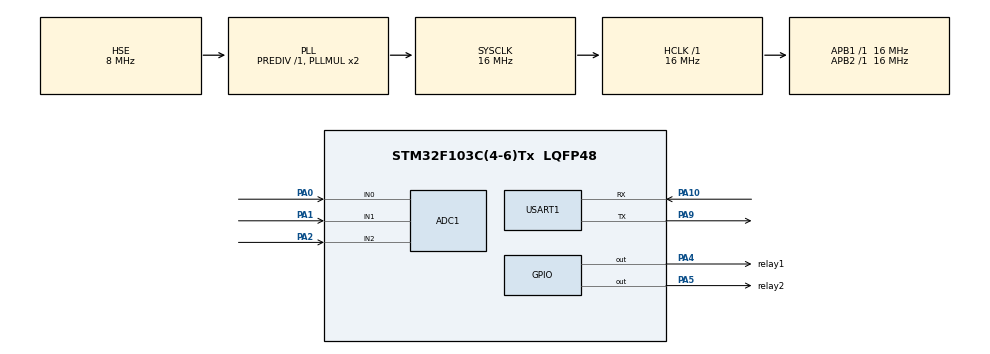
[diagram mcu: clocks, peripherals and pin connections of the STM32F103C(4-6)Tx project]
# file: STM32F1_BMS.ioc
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ADC1.Channel-0\#ChannelRegularConversion=ADC_CHANNEL_0
ADC1.Channel-1\#ChannelRegularConversion=ADC_CHANNEL_1
ADC1.Channel-2\#ChannelRegularConversion=ADC_CHANNEL_2
ADC1.ContinuousConvMode=ENABLE
ADC1.NbrOfConversion=3
ADC1.NbrOfConversionFlag=1
ADC1.Rank-0\#ChannelRegularConversion=1
ADC1.Rank-1\#ChannelRegularConversion=2
ADC1.Rank-2\#ChannelRegularConversion=3
ADC1.SamplingTime-0\#ChannelRegularConversion=ADC_SAMPLETIME_41CYCLES_5
ADC1.SamplingTime-1\#ChannelRegularConversion=ADC_SAMPLETIME_55CYCLES_5
ADC1.SamplingTime-2\#ChannelRegularConversion=ADC_SAMPLETIME_71CYCLES_5
ADC1.master=1
Dma.Request0=USART1_RX
Dma.USART1_RX.0.Direction=DMA_PERIPH_TO_MEMORY
Dma.USART1_RX.0.Instance=DMA1_Channel5
Dma.USART1_RX.0.MemDataAlignment=DMA_MDATAALIGN_BYTE
Dma.USART1_RX.0.MemInc=DMA_MINC_ENABLE
Dma.USART1_RX.0.Mode=DMA_NORMAL
Dma.USART1_RX.0.PeriphDataAlignment=DMA_PDATAALIGN_BYTE
Dma.USART1_RX.0.PeriphInc=DMA_PINC_DISABLE
Dma.USART1_RX.0.Priority=DMA_PRIORITY_LOW
Mcu.Family=STM32F1
Mcu.Name=STM32F103C(4-6)Tx
Mcu.Package=LQFP48
NVIC.DMA1_Channel5_IRQn=true\:0\:0\:false\:false\:true\:false\:true\:true
NVIC.PriorityGroup=NVIC_PRIORITYGROUP_4
NVIC.USART1_IRQn=true\:0\:0\:false\:false\:true\:true\:true\:true
PA0-WKUP.Signal=ADCx_IN0
PA1.Signal=ADCx_IN1
PA10.Mode=Asynchronous
PA10.Signal=USART1_RX
PA2.Signal=ADCx_IN2
PA4.GPIO_Label=relay1
PA4.Signal=GPIO_Output
PA5.GPIO_Label=relay2
PA5.Signal=GPIO_Output
PA9.Mode=Asynchronous
PA9.Signal=USART1_TX
PD0-OSC_IN.Mode=HSE-External-Oscillator
PD0-OSC_IN.Signal=RCC_OSC_IN
PD1-OSC_OUT.Mode=HSE-External-Oscillator
PD1-OSC_OUT.Signal=RCC_OSC_OUT
ProjectManager.HeapSize=0x200
ProjectManager.StackSize=0x400
ProjectManager.TargetToolchain=STM32CubeIDE
RCC.AHBFreq_Value=16000000
RCC.APB1Freq_Value=16000000
RCC.APB1TimFreq_Value=16000000
RCC.APB2Freq_Value=16000000
RCC.APB2TimFreq_Value=16000000
RCC.HCLKFreq_Value=16000000
RCC.PLLSourceVirtual=RCC_PLLSOURCE_HSE
RCC.SYSCLKFreq_VALUE=16000000
RCC.SYSCLKSource=RCC_SYSCLKSOURCE_PLLCLK
RCC.USBFreq_Value=16000000
SH.ADCx_IN0.0=ADC1_IN0,IN0
SH.ADCx_IN1.0=ADC1_IN1,IN1
SH.ADCx_IN2.0=ADC1_IN2,IN2
USART1.VirtualMode=VM_ASYNC
board=custom

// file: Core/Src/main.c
/* USER CODE BEGIN Header */
/**
 ******************************************************************************
 * @file           : main.c
 * @brief          : Main program body
 ******************************************************************************
 * @attention
 *
 * Copyright (c) 2022 STMicroelectronics.
 * All rights reserved.
 *
 * This software is licensed under terms that can be found in the LICENSE file
 * in the root directory of this software component.
 * If no LICENSE file comes with this software, it is provided AS-IS.
 *
 ******************************************************************************
 */
/* USER CODE END Header */
#include "main.h"

/* USER CODE BEGIN PD */
#define number_of_read 100
#define relayStatusChange(status)     (relayStatus = status)
/* USER CODE END PD */

ADC_HandleTypeDef hadc1;

UART_HandleTypeDef huart1;
DMA_HandleTypeDef hdma_usart1_rx;

/* USER CODE BEGIN PV */
uint8_t count;
stBattery_t stBattery;
uint16_t adc_voltage_value[number_of_read], adc_current_value[number_of_read];
RelayStatus_e relayStatus = RelayStatus_Idle;
float correction_value = 0.98800;
bool bufferFull = false;
stUSART_t stUSART1;
stTimer_t stTimer;
stTestParameter_t stTestParameter;
/* USER CODE END PV */

void SystemClock_Config(void);
static void MX_GPIO_Init(void);
static void MX_DMA_Init(void);
static void MX_ADC1_Init(void);
static void MX_USART1_UART_Init(void);

/* USER CODE BEGIN 0 */
void ADC_Select_Current() {
	ADC_ChannelConfTypeDef sConfig = { 0 };
	/** Configure Regular Channel
	 */
	sConfig.Channel = ADC_CHANNEL_0;
	sConfig.Rank = ADC_REGULAR_RANK_1;
	sConfig.SamplingTime = ADC_SAMPLETIME_41CYCLES_5;
	if (HAL_ADC_ConfigChannel(&hadc1, &sConfig) != HAL_OK) {
		Error_Handler();
	}
}
void ADC_Select_Temperature() {
	ADC_ChannelConfTypeDef sConfig = { 0 };
	/** Configure Regular Channel
	 */
	sConfig.Channel = ADC_CHANNEL_1;
	sConfig.Rank = ADC_REGULAR_RANK_1;
	sConfig.SamplingTime = ADC_SAMPLETIME_55CYCLES_5;
	if (HAL_ADC_ConfigChannel(&hadc1, &sConfig) != HAL_OK) {
		Error_Handler();
	}
}
void ADC_Select_Voltage() {
	ADC_ChannelConfTypeDef sConfig = { 0 };
	/** Configure Regular Channel
	 */
	sConfig.Channel = ADC_CHANNEL_2;
	sConfig.Rank = ADC_REGULAR_RANK_1;
	sConfig.SamplingTime = ADC_SAMPLETIME_71CYCLES_5;
	if (HAL_ADC_ConfigChannel(&hadc1, &sConfig) != HAL_OK) {
		Error_Handler();
	}
}
uint16_t Get_ADC_Value() {
	uint16_t adc_value = 0;

	HAL_ADC_Start(&hadc1);
	if (HAL_ADC_PollForConversion(&hadc1, 200) == HAL_OK) {
		adc_value = HAL_ADC_GetValue(&hadc1);
	}
	HAL_ADC_Stop(&hadc1);
	return adc_value;
}
float Get_ADC_Voltage(uint16_t *adc_value_buffer) {
	uint64_t sum_adc_value = 0;
	uint8_t i = 0;
	for (; i < number_of_read; i++) {
		sum_adc_value = sum_adc_value + adc_value_buffer[i];
	}

	sum_adc_value = sum_adc_value / number_of_read;

	return (float) (sum_adc_value / 4095.0) * 3.106 * 2.0 * correction_value;
}
float Get_Battery_Current(float voltage) {
	return (float) (voltage - 2.5) / (0.075);
}
double Thermistor(int analogValue) {
	double temperature;
	temperature = log(((40950000 / analogValue) - 10000));
	temperature = 1
			/ (0.001129148
					+ (0.000234125
							+ (0.0000000876741 * temperature * temperature))
							* temperature);
	temperature = temperature - 273.15;
	return temperature;
}
void Battery_Management_System() {
	switch (relayStatus) {
	case RelayStatus_Idle:
		HAL_GPIO_WritePin(relay1_GPIO_Port, relay1_Pin, GPIO_PIN_SET);
		HAL_GPIO_WritePin(relay2_GPIO_Port, relay2_Pin, GPIO_PIN_SET);
		break;
	case RelayStatus_Charge:
		HAL_GPIO_WritePin(relay1_GPIO_Port, relay1_Pin, GPIO_PIN_RESET);
		HAL_GPIO_WritePin(relay2_GPIO_Port, relay2_Pin, GPIO_PIN_SET);
		if (stBattery.voltage >= stTestParameter.chargeCutOffVoltage) {
			relayStatusChange(RelayStatus_Idle);
		}
		break;
	case RelayStatus_Discharge:
		HAL_GPIO_WritePin(relay1_GPIO_Port, relay1_Pin, GPIO_PIN_SET);
		HAL_GPIO_WritePin(relay2_GPIO_Port, relay2_Pin, GPIO_PIN_RESET);
		if (stBattery.voltage <= stTestParameter.dischargeCutOffVoltage) {
			relayStatusChange(RelayStatus_Idle);
		}
		break;
	}
}
int __io_putchar(uint8_t ch) {
	HAL_UART_Transmit(&huart1, (uint8_t*) &ch, 1, 100);
	return ch;
}

void UART_Cmd(char *cmd) {
	if (!strcmp(cmd, IDLE)) {
		relayStatusChange(RelayStatus_Idle);
	} else if (!strcmp(cmd, CHARGE)) {
		relayStatusChange(RelayStatus_Charge);
	} else if (!strcmp(cmd, DISCHARGE)) {
		relayStatusChange(RelayStatus_Discharge);
	}
}
void HAL_UARTEx_RxEventCallback(UART_HandleTypeDef *huart, uint16_t Size) {
	if (huart->Instance == USART1) {
		HAL_UARTEx_ReceiveToIdle_DMA(&huart1, (uint8_t*) stUSART1.buffer, 10);
		__HAL_DMA_DISABLE_IT(&hdma_usart1_rx, DMA_IT_HT);
		for (uint8_t i = Size; i < 10; i++) {
			stUSART1.buffer[i] = 0;
		}
		stUSART1.update = true;
	}
}
void Systick_Init() {
	HAL_SYSTICK_Config(HAL_RCC_GetHCLKFreq() / 1000);
	HAL_SYSTICK_CLKSourceConfig(SYSTICK_CLKSOURCE_HCLK);
	HAL_NVIC_SetPriority(SysTick_IRQn, 0, 0);
}
/* USER CODE END 0 */

int main(void) {

	/* MCU Configuration--------------------------------------------------------*/

	/* Reset of all peripherals, Initializes the Flash interface and the Systick. */
	HAL_Init();

	/* Configure the system clock */
	SystemClock_Config();

	/* Initialize all configured peripherals */
	MX_GPIO_Init();
	MX_DMA_Init();
	MX_ADC1_Init();
	MX_USART1_UART_Init();
	/* USER CODE BEGIN 2 */

	HAL_UARTEx_ReceiveToIdle_DMA(&huart1, (uint8_t*) stUSART1.buffer, 10);
	__HAL_DMA_DISABLE_IT(&hdma_usart1_rx, DMA_IT_HT);

	Systick_Init();

	stTestParameter.chargeCutOffVoltage = 4.15;
	stTestParameter.dischargeCutOffVoltage = 2.8;

	/* USER CODE END 2 */

	/* Infinite loop */
	while (1) {
		ADC_Select_Voltage();
		adc_voltage_value[count] = Get_ADC_Value();

		ADC_Select_Current();
		adc_current_value[count] = Get_ADC_Value();

		count++;

		if (count == number_of_read) {
			count = 0;
			bufferFull = true;
			Battery_Management_System(relayStatus);
		}
		if (bufferFull == true) {
			stBattery.voltage = Get_ADC_Voltage(adc_voltage_value);
			stBattery.current = Get_Battery_Current(Get_ADC_Voltage(adc_current_value));
			ADC_Select_Temperature();
			stBattery.temperature = Thermistor(Get_ADC_Value());
		}
		if (stBattery.temperature >= 45.0) {
			relayStatusChange(RelayStatus_Idle);
		}
		if (stUSART1.update) {
			UART_Cmd(stUSART1.buffer);
			stUSART1.update = false;
			Battery_Management_System(relayStatus);
		}
		if (stTimer.update) {
			printf("%d/%1.2f/%1.2f/%1.2f\n", relayStatus, stBattery.voltage,
					stBattery.current, stBattery.temperature);
			stTimer.update = false;
		}
	}
}

void SystemClock_Config(void) {
	RCC_OscInitTypeDef RCC_OscInitStruct = { 0 };
	RCC_ClkInitTypeDef RCC_ClkInitStruct = { 0 };
	RCC_PeriphCLKInitTypeDef PeriphClkInit = { 0 };

	/** Initializes the RCC Oscillators according to the specified parameters
	 * in the RCC_OscInitTypeDef structure.
	 */
	RCC_OscInitStruct.OscillatorType = RCC_OSCILLATORTYPE_HSE;
	RCC_OscInitStruct.HSEState = RCC_HSE_ON;
	RCC_OscInitStruct.HSEPredivValue = RCC_HSE_PREDIV_DIV1;
	RCC_OscInitStruct.HSIState = RCC_HSI_ON;
	RCC_OscInitStruct.PLL.PLLState = RCC_PLL_ON;
	RCC_OscInitStruct.PLL.PLLSource = RCC_PLLSOURCE_HSE;
	RCC_OscInitStruct.PLL.PLLMUL = RCC_PLL_MUL2;
	if (HAL_RCC_OscConfig(&RCC_OscInitStruct) != HAL_OK) {
		Error_Handler();
	}

	/** Initializes the CPU, AHB and APB buses clocks
	 */
	RCC_ClkInitStruct.ClockType = RCC_CLOCKTYPE_HCLK | RCC_CLOCKTYPE_SYSCLK
			| RCC_CLOCKTYPE_PCLK1 | RCC_CLOCKTYPE_PCLK2;
	RCC_ClkInitStruct.SYSCLKSource = RCC_SYSCLKSOURCE_PLLCLK;
	RCC_ClkInitStruct.AHBCLKDivider = RCC_SYSCLK_DIV1;
	RCC_ClkInitStruct.APB1CLKDivider = RCC_HCLK_DIV1;
	RCC_ClkInitStruct.APB2CLKDivider = RCC_HCLK_DIV1;

	if (HAL_RCC_ClockConfig(&RCC_ClkInitStruct, FLASH_LATENCY_0) != HAL_OK) {
		Error_Handler();
	}
	PeriphClkInit.PeriphClockSelection = RCC_PERIPHCLK_ADC;
	PeriphClkInit.AdcClockSelection = RCC_ADCPCLK2_DIV2;
	if (HAL_RCCEx_PeriphCLKConfig(&PeriphClkInit) != HAL_OK) {
		Error_Handler();
	}
}

static void MX_ADC1_Init(void) {

	/** Common config
	 */
	hadc1.Instance = ADC1;
	hadc1.Init.ScanConvMode = ADC_SCAN_ENABLE;
	hadc1.Init.ContinuousConvMode = ENABLE;
	hadc1.Init.DiscontinuousConvMode = DISABLE;
	hadc1.Init.ExternalTrigConv = ADC_SOFTWARE_START;
	hadc1.Init.DataAlign = ADC_DATAALIGN_RIGHT;
	hadc1.Init.NbrOfConversion = 1;
	if (HAL_ADC_Init(&hadc1) != HAL_OK) {
		Error_Handler();
	}

}

static void MX_USART1_UART_Init(void) {

	huart1.Instance = USART1;
	huart1.Init.BaudRate = 115200;
	huart1.Init.WordLength = UART_WORDLENGTH_8B;
	huart1.Init.StopBits = UART_STOPBITS_1;
	huart1.Init.Parity = UART_PARITY_NONE;
	huart1.Init.Mode = UART_MODE_TX_RX;
	huart1.Init.HwFlowCtl = UART_HWCONTROL_NONE;
	huart1.Init.OverSampling = UART_OVERSAMPLING_16;
	if (HAL_UART_Init(&huart1) != HAL_OK) {
		Error_Handler();
	}

}

static void MX_DMA_Init(void) {

	/* DMA controller clock enable */
	__HAL_RCC_DMA1_CLK_ENABLE();

	/* DMA interrupt init */
	/* DMA1_Channel5_IRQn interrupt configuration */
	HAL_NVIC_SetPriority(DMA1_Channel5_IRQn, 0, 0);
	HAL_NVIC_EnableIRQ(DMA1_Channel5_IRQn);

}

static void MX_GPIO_Init(void) {
	GPIO_InitTypeDef GPIO_InitStruct = { 0 };

	/* GPIO Ports Clock Enable */
	__HAL_RCC_GPIOD_CLK_ENABLE();
	__HAL_RCC_GPIOA_CLK_ENABLE();

	/*Configure GPIO pin Output Level */
	HAL_GPIO_WritePin(GPIOA, relay1_Pin | relay2_Pin, GPIO_PIN_RESET);

	/*Configure GPIO pins : relay1_Pin relay2_Pin */
	GPIO_InitStruct.Pin = relay1_Pin | relay2_Pin;
	GPIO_InitStruct.Mode = GPIO_MODE_OUTPUT_PP;
	GPIO_InitStruct.Pull = GPIO_NOPULL;
	GPIO_InitStruct.Speed = GPIO_SPEED_FREQ_LOW;
	HAL_GPIO_Init(GPIOA, &GPIO_InitStruct);

}

void Error_Handler(void) {
	__disable_irq();
	while (1) {
	}
}
